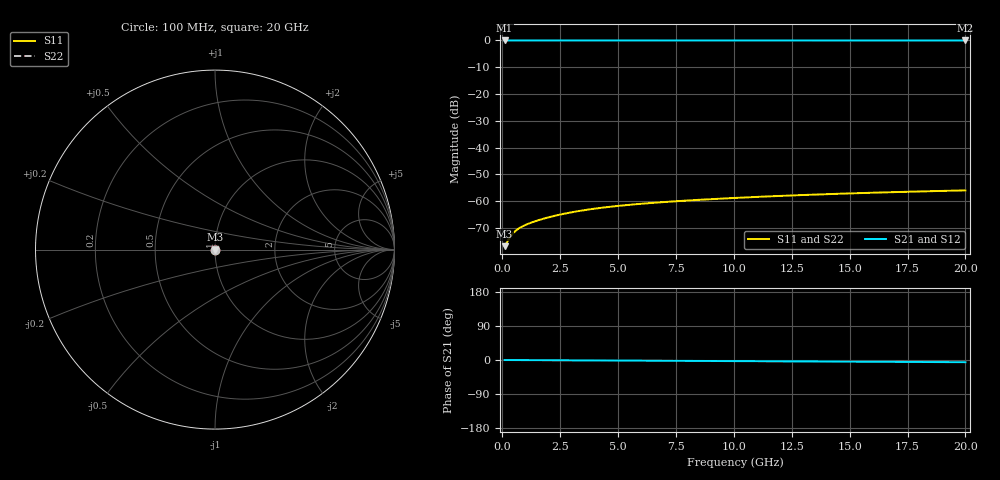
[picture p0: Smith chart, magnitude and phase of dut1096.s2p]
! Touchstone file exported from HFSS 2026.1.0
!  File:  C:/ffzhzh/LocalFiles/Ansys_Project_Files/temp_train_TSV_1096_1783190427_55132.aedt
!  Generated:  02:42:02 AM Jul  5, 2026
!  Design:  TSV
!  Project:  temp_train_TSV_1096_1783190427_55132
! Variables:
!  h_bsmrdl = 2um
!  h_ox = 20um
!  h_rdl = 5um
!  h_sub = 57.53um
!  h_tmrdl = 5um
!  h_tsv = 57.53um
!  h_via = 3um
!  l_bsmrdl = 300um
!  l_sub = 416.24um
!  l_tmrdl = 200um
!  m_sub = 200um
!  pitch = 33.04um
!  r_tsv = 8.12um
!  s_tmrdl = 10um
!  w_bsmrdl = 18um
!  w_sub = 500um
!  w_tmrdl = 12um
!  x_tsv_center1 = 206um
!  x_tsv_center2 = 524um
!  x_tsv_center3 = 736um
!  x_tsv_center4 = 1054um
!  x_tsv_center5 = 1266um
!  x_tsv_center6 = 1584um
# GHz S MA R 50.000000
! Terminal data exported
! Port[1] = TSV1_1_T1
! Port[2] = TSV1_1_T2
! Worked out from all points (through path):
!   200 points, 100 MHz to 20 GHz, reference 50 ohm
!   highest |S21| = 0.00 dB at 100 MHz (marker M1); lowest = 0.0 dB at 20 GHz (marker M2)
!   lowest |S11| = -76.8 dB at 100 MHz (marker M3), VSWR 1.00, Z = 50 + j0.00426 ohm
!   |S11| at or under -10 dB: start of sweep to end of sweep
!   |S22| runs from -76.8 to -55.9 dB; largest |S21 - S12| = 3.3e-15
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0.1  0.0001454 17.0  0.9999 -0.0  0.9999 -0.0  0.0001454 17.0
! Gamma 0 0 0 0
! Port Impedance 50 0 50 0
0.3  0.0002035 34.1  0.9998 -0.1  0.9998 -0.1  0.0002035 34.1
0.4  0.0002344 36.9  0.9998 -0.1  0.9998 -0.1  0.0002344 36.9
0.5  0.0002622 38.2  0.9998 -0.2  0.9998 -0.2  0.0002623 38.2
0.6  0.0002867 38.8  0.9998 -0.2  0.9998 -0.2  0.0002868 38.8
0.7  0.0003084 39.2  0.9998 -0.2  0.9998 -0.2  0.0003084 39.2
0.8  0.0003278 39.5  0.9997 -0.2  0.9997 -0.2  0.0003278 39.5
1  0.0003619 40.1  0.9997 -0.3  0.9997 -0.3  0.0003619 40.1
1.2  0.0003924 40.7  0.9997 -0.4  0.9997 -0.4  0.0003924 40.7
1.5  0.0004349 41.7  0.9997 -0.4  0.9997 -0.4  0.0004349 41.7
2.1  0.0005146 43.2  0.9996 -0.6  0.9996 -0.6  0.0005147 43.2
2.8  0.000601 43.9  0.9996 -0.8  0.9996 -0.8  0.000601 43.9
3.5  0.000679 43.9  0.9995 -1.0  0.9995 -1.0  0.000679 43.9
4.2  0.0007487 43.5  0.9995 -1.2  0.9995 -1.2  0.0007487 43.5
4.9  0.0008112 43.1  0.9994 -1.4  0.9994 -1.4  0.0008113 43.1
5.8  0.0008833 42.6  0.9994 -1.7  0.9994 -1.7  0.0008834 42.6
6.8  0.0009552 42.1  0.9993 -2.0  0.9993 -2.0  0.0009553 42.1
8.3  0.001052 41.4  0.9992 -2.4  0.9992 -2.4  0.001053 41.4
10.1  0.001158 40.7  0.9992 -3.0  0.9992 -3.0  0.001158 40.7
13.4  0.001328 39.3  0.999 -3.9  0.999 -3.9  0.001329 39.3
16.7  0.001474 37.8  0.9989 -4.9  0.9989 -4.9  0.001475 37.8
20  0.001595 36.2  0.9988 -5.8  0.9988 -5.8  0.001597 36.2
